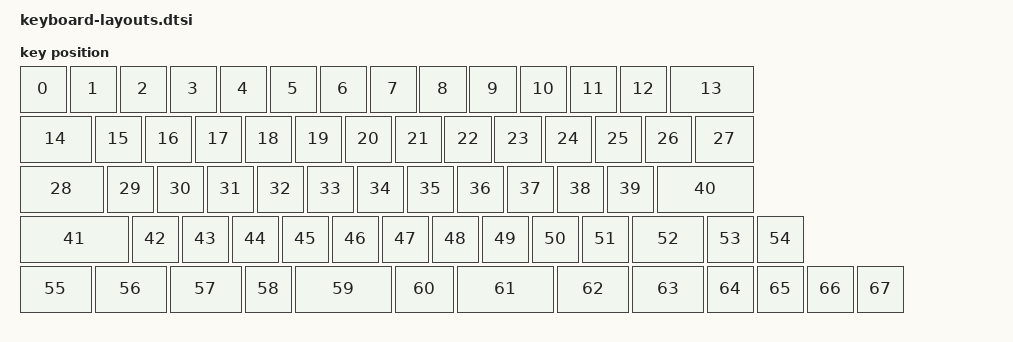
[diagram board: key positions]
/*
 * PRD §11 step 10 — Physical layout for ZMK Studio.
 *
 * All dimensions are in centi-keyunits (100 = 1 u).
 * Format: <&key_physical_attrs  W   H    X    Y  ROT  RX  RY>
 *
 * 68 keys total:
 *   Row 0 (y=  0): 14 keys — number row
 *   Row 1 (y=100): 14 keys — QWERTY
 *   Row 2 (y=200): 13 keys — home row (COL14 omitted — display cutout)
 *   Row 3 (y=300): 14 keys — bottom alpha + Del
 *   Row 4 (y=400): 13 keys — modifiers + arrows (COL7 omitted — physical gap)
 *
 * No entry for the encoder push button (RC(5,0)); Studio does not expose
 * it as a mappable key in the physical-layout keys list.
 */

#include <physical_layouts.dtsi>

/ {
    default_layout: default_layout {
        compatible = "zmk,physical-layout";
        display-name = "Default";
        transform = <&default_transform>;

        keys  //                     w    h     x     y   rot  rx  ry
            /* ── Row 0: number row ─────────────────────────────────── */
            = <&key_physical_attrs 100  100     0     0     0   0   0>  /* ~ */
            , <&key_physical_attrs 100  100   100     0     0   0   0>  /* ! */
            , <&key_physical_attrs 100  100   200     0     0   0   0>  /* @ */
            , <&key_physical_attrs 100  100   300     0     0   0   0>  /* # */
            , <&key_physical_attrs 100  100   400     0     0   0   0>  /* $ */
            , <&key_physical_attrs 100  100   500     0     0   0   0>  /* % */
            , <&key_physical_attrs 100  100   600     0     0   0   0>  /* ^ */
            , <&key_physical_attrs 100  100   700     0     0   0   0>  /* & */
            , <&key_physical_attrs 100  100   800     0     0   0   0>  /* * */
            , <&key_physical_attrs 100  100   900     0     0   0   0>  /* ( */
            , <&key_physical_attrs 100  100  1000     0     0   0   0>  /* ) */
            , <&key_physical_attrs 100  100  1100     0     0   0   0>  /* _ */
            , <&key_physical_attrs 100  100  1200     0     0   0   0>  /* + */
            , <&key_physical_attrs 175  100  1300     0     0   0   0>  /* Backspace 1.75u */

            /* ── Row 1: QWERTY ──────────────────────────────────────── */
            , <&key_physical_attrs 150  100     0   100     0   0   0>  /* Tab 1.5u */
            , <&key_physical_attrs 100  100   150   100     0   0   0>  /* Q */
            , <&key_physical_attrs 100  100   250   100     0   0   0>  /* W */
            , <&key_physical_attrs 100  100   350   100     0   0   0>  /* E */
            , <&key_physical_attrs 100  100   450   100     0   0   0>  /* R */
            , <&key_physical_attrs 100  100   550   100     0   0   0>  /* T */
            , <&key_physical_attrs 100  100   650   100     0   0   0>  /* Y */
            , <&key_physical_attrs 100  100   750   100     0   0   0>  /* U */
            , <&key_physical_attrs 100  100   850   100     0   0   0>  /* I */
            , <&key_physical_attrs 100  100   950   100     0   0   0>  /* O */
            , <&key_physical_attrs 100  100  1050   100     0   0   0>  /* P */
            , <&key_physical_attrs 100  100  1150   100     0   0   0>  /* { */
            , <&key_physical_attrs 100  100  1250   100     0   0   0>  /* } */
            , <&key_physical_attrs 125  100  1350   100     0   0   0>  /* | 1.25u */

            /* ── Row 2: home row (13 keys; COL14 = display cutout) ─── */
            , <&key_physical_attrs 175  100     0   200     0   0   0>  /* CapsLock 1.75u */
            , <&key_physical_attrs 100  100   175   200     0   0   0>  /* A */
            , <&key_physical_attrs 100  100   275   200     0   0   0>  /* S */
            , <&key_physical_attrs 100  100   375   200     0   0   0>  /* D */
            , <&key_physical_attrs 100  100   475   200     0   0   0>  /* F */
            , <&key_physical_attrs 100  100   575   200     0   0   0>  /* G */
            , <&key_physical_attrs 100  100   675   200     0   0   0>  /* H */
            , <&key_physical_attrs 100  100   775   200     0   0   0>  /* J */
            , <&key_physical_attrs 100  100   875   200     0   0   0>  /* K */
            , <&key_physical_attrs 100  100   975   200     0   0   0>  /* L */
            , <&key_physical_attrs 100  100  1075   200     0   0   0>  /* : */
            , <&key_physical_attrs 100  100  1175   200     0   0   0>  /* " */
            , <&key_physical_attrs 200  100  1275   200     0   0   0>  /* Enter 2u */

            /* ── Row 3: bottom alpha ────────────────────────────────── */
            , <&key_physical_attrs 225  100     0   300     0   0   0>  /* Shift 2.25u */
            , <&key_physical_attrs 100  100   225   300     0   0   0>  /* Z */
            , <&key_physical_attrs 100  100   325   300     0   0   0>  /* X */
            , <&key_physical_attrs 100  100   425   300     0   0   0>  /* C */
            , <&key_physical_attrs 100  100   525   300     0   0   0>  /* V */
            , <&key_physical_attrs 100  100   625   300     0   0   0>  /* B */
            , <&key_physical_attrs 100  100   725   300     0   0   0>  /* N */
            , <&key_physical_attrs 100  100   825   300     0   0   0>  /* M */
            , <&key_physical_attrs 100  100   925   300     0   0   0>  /* < */
            , <&key_physical_attrs 100  100  1025   300     0   0   0>  /* > */
            , <&key_physical_attrs 100  100  1125   300     0   0   0>  /* ? */
            , <&key_physical_attrs 150  100  1225   300     0   0   0>  /* RShift 1.5u */
            , <&key_physical_attrs 100  100  1375   300     0   0   0>  /* Up */
            , <&key_physical_attrs 100  100  1475   300     0   0   0>  /* Del (MX55) */

            /* ── Row 4: modifiers (13 keys; COL7 = physical gap) ───── */
            , <&key_physical_attrs 150  100     0   400     0   0   0>  /* LCTRL 1.5u */
            , <&key_physical_attrs 150  100   150   400     0   0   0>  /* LGUI 1.5u */
            , <&key_physical_attrs 150  100   300   400     0   0   0>  /* LALT 1.5u */
            , <&key_physical_attrs 100  100   450   400     0   0   0>  /* CMD/MX59 1u */
            , <&key_physical_attrs 200  100   550   400     0   0   0>  /* Space1 2u */
            , <&key_physical_attrs 125  100   750   400     0   0   0>  /* RALT 1.25u */
            , <&key_physical_attrs 200  100   875   400     0   0   0>  /* Space2 2u */
            , <&key_physical_attrs 150  100  1075   400     0   0   0>  /* FN1 1.5u */
            , <&key_physical_attrs 150  100  1225   400     0   0   0>  /* FN2 1.5u */
            , <&key_physical_attrs 100  100  1375   400     0   0   0>  /* RCTRL/MX65 1u */
            , <&key_physical_attrs 100  100  1475   400     0   0   0>  /* Left */
            , <&key_physical_attrs 100  100  1575   400     0   0   0>  /* Down */
            , <&key_physical_attrs 100  100  1675   400     0   0   0>  /* Right */
            ;
    };
};
